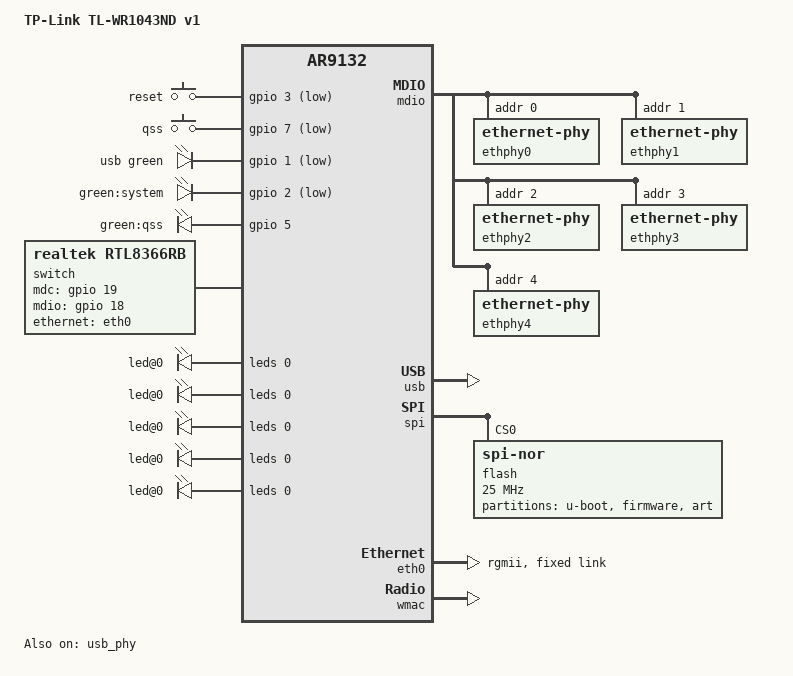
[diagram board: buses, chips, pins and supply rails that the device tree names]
// SPDX-License-Identifier: GPL-2.0-only

#include "ar9132.dtsi"

#include <dt-bindings/gpio/gpio.h>
#include <dt-bindings/input/input.h>
#include <dt-bindings/leds/common.h>

/ {
	compatible = "tplink,tl-wr1043nd-v1", "qca,ar9132";
	model = "TP-Link TL-WR1043ND v1";

	aliases {
		led-boot = &led_system;
		led-failsafe = &led_system;
		led-running = &led_system;
		led-upgrade = &led_system;
		label-mac-device = &eth0;
	};

	keys {
		compatible = "gpio-keys";

		reset {
			label = "reset";
			linux,code = <KEY_RESTART>;
			gpios = <&gpio 3 GPIO_ACTIVE_LOW>;
			debounce-interval = <60>;
		};

		qss {
			label = "qss";
			linux,code = <KEY_WPS_BUTTON>;
			gpios = <&gpio 7 GPIO_ACTIVE_LOW>;
			debounce-interval = <60>;
		};
	};

	leds {
		compatible = "gpio-leds";

		usb {
			function = LED_FUNCTION_USB;
			color = <LED_COLOR_ID_GREEN>;
			gpios = <&gpio 1 GPIO_ACTIVE_LOW>;
			trigger-sources = <&hub_port>;
			linux,default-trigger = "usbport";
		};

		led_system: system {
			label = "green:system";
			gpios = <&gpio 2 GPIO_ACTIVE_LOW>;
			linux,default-trigger = "heartbeat";
		};

		qss {
			label = "green:qss";
			gpios = <&gpio 5 GPIO_ACTIVE_HIGH>;
		};
	};

	switch {
		compatible = "realtek,rtl8366rb";
		mdc-gpios = <&gpio 19 GPIO_ACTIVE_HIGH>;
		mdio-gpios = <&gpio 18 GPIO_ACTIVE_HIGH>;

		resets = <&rst 8>;

		/* The switch interrupt pin is not connected or unknown.
		 * The driver will use polling. */

		ports {
			#address-cells = <1>;
			#size-cells = <0>;
			port@0 {
				reg = <0>;
				label = "wan";
				phy-handle = <&ethphy0>;
				leds {
					#address-cells = <1>;
					#size-cells = <0>;

					led@0 {
						reg = <0>;
						color = <LED_COLOR_ID_GREEN>;
						function = LED_FUNCTION_WAN;
						default-state = "keep";
					 };
				};
			};
			port@1 {
				reg = <1>;
				label = "lan1";
				phy-handle = <&ethphy1>;
				leds {
					#address-cells = <1>;
					#size-cells = <0>;

					led@0 {
						reg = <0>;
						color = <LED_COLOR_ID_GREEN>;
						function = LED_FUNCTION_LAN;
						default-state = "keep";
					};
				};

			};
			port@2 {
				reg = <2>;
				label = "lan2";
				phy-handle = <&ethphy2>;
				leds {
					#address-cells = <1>;
					#size-cells = <0>;

					led@0 {
						reg = <0>;
						color = <LED_COLOR_ID_GREEN>;
						function = LED_FUNCTION_LAN;
						default-state = "keep";
					};
				};
			};
			port@3 {
				reg = <3>;
				label = "lan3";
				phy-handle = <&ethphy3>;
				leds {
					#address-cells = <1>;
					#size-cells = <0>;

					led@0 {
						reg = <0>;
						color = <LED_COLOR_ID_GREEN>;
						function = LED_FUNCTION_LAN;
						default-state = "keep";
					};
				};
			};
			port@4 {
				reg = <4>;
				label = "lan4";
				phy-handle = <&ethphy4>;
				leds {
					#address-cells = <1>;
					#size-cells = <0>;

					led@0 {
						reg = <0>;
						color = <LED_COLOR_ID_GREEN>;
						function = LED_FUNCTION_LAN;
						default-state = "keep";
					};
				};
			};
			port@5 {
				reg = <5>;
				ethernet = <&eth0>;
				phy-mode = "rgmii";
				fixed-link {
					speed = <1000>;
					full-duplex;
				};
			};

		};

		mdio {
			compatible = "realtek,smi-mdio";
			#address-cells = <1>;
			#size-cells = <0>;

			ethphy0: ethernet-phy@0 {
				reg = <0>;
			};
			ethphy1: ethernet-phy@1 {
				reg = <1>;
			};
			ethphy2: ethernet-phy@2 {
				reg = <2>;
			};
			ethphy3: ethernet-phy@3 {
				reg = <3>;
			};
			ethphy4: ethernet-phy@4 {
				reg = <4>;
			};
		};
	};



};

&usb {
	status = "okay";
};

&usb_phy {
	status = "okay";
};

&spi {
	status = "okay";

	flash@0 {
		compatible = "jedec,spi-nor";
		reg = <0>;
		spi-max-frequency = <25000000>;
		m25p,fast-read;

		partitions {
			compatible = "fixed-partitions";
			#address-cells = <1>;
			#size-cells = <1>;

			uboot: partition@0 {
				label = "u-boot";
				reg = <0x000000 0x020000>;
				read-only;

				nvmem-layout {
					compatible = "fixed-layout";
					#address-cells = <1>;
					#size-cells = <1>;

					macaddr_uboot_1fc00: macaddr@1fc00 {
						reg = <0x1fc00 0x6>;
					};
				};
			};

			partition@20000 {
				compatible = "tplink,firmware";
				label = "firmware";
				reg = <0x020000 0x7D0000>;
			};

			partition@7f0000 {
				label = "art";
				reg = <0x7f0000 0x010000>;
				read-only;

				nvmem-layout {
					compatible = "fixed-layout";
					#address-cells = <1>;
					#size-cells = <1>;

					cal_art_1000: calibration@1000 {
						reg = <0x1000 0xeb8>;
					};
				};
			};
		};
	};
};

&eth0 {
	status = "okay";

	phy-mode = "rgmii";
	nvmem-cells = <&macaddr_uboot_1fc00>;
	nvmem-cell-names = "mac-address";

	fixed-link {
		speed = <1000>;
		full-duplex;
	};
};

&wmac {
	status = "okay";

	nvmem-cells = <&macaddr_uboot_1fc00>, <&cal_art_1000>;
	nvmem-cell-names = "mac-address", "calibration";

	led {
		led-sources = <9>;
		led-active-low;
	};
};
